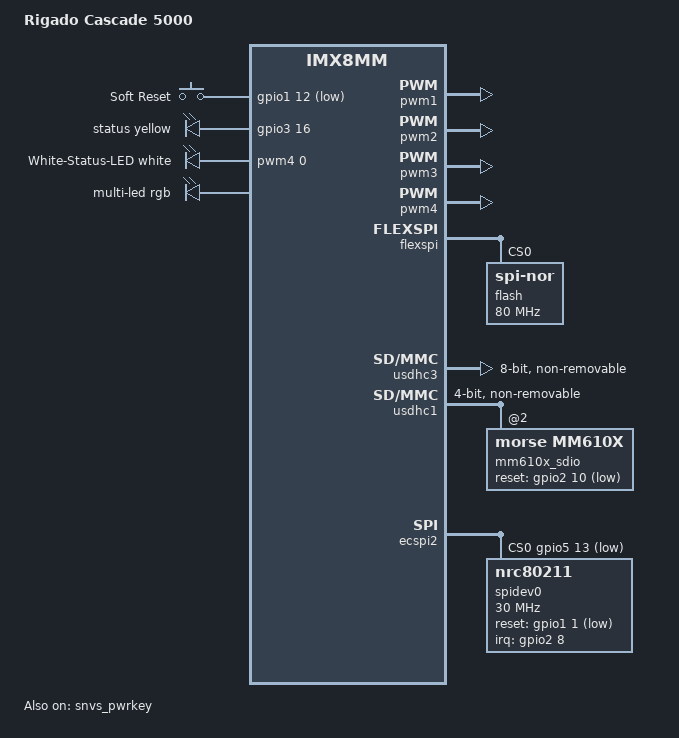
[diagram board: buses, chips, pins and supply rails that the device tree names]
// SPDX-License-Identifier: (GPL-2.0+ OR MIT)
/*
 * Copyright 2025 Rigado
 * Based on imx8mm-evk.dts, Copyright 2020 NXP
*/
/dts-v1/;

#include <dt-bindings/leds/common.h>
#include "imx8mm-rigado-c5k.dtsi"
/ {
	model = "Rigado Cascade 5000";
	compatible = "rig,cascade-5000", "fsl,imx8mm";

	aliases {
		spi0 = &flexspi;
	};

	gpio-keys {
		compatible = "gpio-keys";
		pinctrl-names = "default";
		pinctrl-0 = <&pinctrl_gpiobutton>;

		switch-1 {
			label = "Soft Reset";
			gpios = <&gpio1 12 GPIO_ACTIVE_LOW>;
			wakeup-source;
			linux,code = <KEY_PROG1>;
		};
	};

	gpio-leds {
		compatible = "gpio-leds";
		pinctrl-names = "default";
		pinctrl-0 = <&pinctrl_gpio_led>;

		/* Normally unpopulated status LED */
		status {
			label = "status";
			color = <LED_COLOR_ID_YELLOW>;
			function = LED_FUNCTION_HEARTBEAT;
			gpios = <&gpio3 16 GPIO_ACTIVE_HIGH>;
			linux,default-trigger = "heartbeat";
		};
	};

	pwm-leds {
		compatible = "pwm-leds";
		white-status {
			label = "White-Status-LED";
			color = <LED_COLOR_ID_WHITE>;
			pwms = <&pwm4 0 100000 0>;
			max-brightness = <248>;
			linux,default-trigger = "default-on";
		};
	};

	led-controller {
		compatible = "pwm-leds-multicolor";

		multi-led {
			color = <LED_COLOR_ID_RGB>;
			function = LED_FUNCTION_STATUS;
			max-brightness = <248>;

			led-red {
				color = <LED_COLOR_ID_RED>;
				pwms = <&pwm1 0 100000 0>;
			};

			led-green {
				color = <LED_COLOR_ID_GREEN>;
				pwms = <&pwm2 0 100000 0>;
			};

			led-blue {
				color = <LED_COLOR_ID_BLUE>;
				pwms = <&pwm3 0 100000 0>;
			};
		};
	};
};

&pwm1 {
	pinctrl-names = "default";
	pinctrl-0 = <&pinctrl_pwm1>;
	status = "okay";
};

&pwm2 {
	pinctrl-names = "default";
	pinctrl-0 = <&pinctrl_pwm2>;
	status = "okay";
};

&pwm3 {
	pinctrl-names = "default";
	pinctrl-0 = <&pinctrl_pwm3>;
	status = "okay";
};

&pwm4 {
	pinctrl-names = "default";
	pinctrl-0 = <&pinctrl_pwm4>;
	status = "okay";
};

&snvs_pwrkey {
	status = "okay";
};

// QSPI configuration flash
&flexspi {
	pinctrl-names = "default";
	pinctrl-0 = <&pinctrl_flexspi>;
	status = "okay";

	flash@0 {
		reg = <0>;
		#address-cells = <1>;
		#size-cells = <1>;
		compatible = "jedec,spi-nor";
		spi-max-frequency = <80000000>;
		spi-tx-bus-width = <1>;
		spi-rx-bus-width = <4>;
	};
};

// eMMC Primary Storage
&usdhc3 {
	assigned-clocks = <&clk IMX8MM_CLK_USDHC3_ROOT>;
	assigned-clock-rates = <400000000>;
	pinctrl-names = "default", "state_100mhz", "state_200mhz";
	pinctrl-0 = <&pinctrl_usdhc3>;
	pinctrl-1 = <&pinctrl_usdhc3_100mhz>;
	pinctrl-2 = <&pinctrl_usdhc3_200mhz>;
	bus-width = <8>;
	non-removable;
	status = "okay";
};

// Morse Micro WiFi Halow on m.2 SDIO
&usdhc1 {
	pinctrl-names = "default", "state_100mhz", "state_200mhz";
	pinctrl-0 = <&pinctrl_usdhc1>, <&pinctrl_wlan>;
	pinctrl-1 = <&pinctrl_usdhc1_100mhz>, <&pinctrl_wlan>;
	pinctrl-2 = <&pinctrl_usdhc1_200mhz>, <&pinctrl_wlan>;
	bus-width = <4>;
	keep-power-in-suspend;
	non-removable;
	wakeup-source;
	status = "okay";
	sdhci-caps-mask = <0x0 0x00080000>;	// Needed to avoid hardware interrupt timeout error
	slot-supply = <&exp3v3_supply>;

	mm610x_sdio  {
		compatible = "morse,mm610x";
		reset-gpios = <&gpio2 10 GPIO_ACTIVE_LOW>;
		// power-gpios = <&gpio2 9 0>;
		//               <&gpio2 15 0>;
		status = "okay";
		reg = <2>;
		bus-width = <4>;
	};

	wifi_wake_host {
		compatible = "nxp,wifi-wake-host";
		interrupt-parent = <&gpio3>;
		interrupts = <22 IRQ_TYPE_LEVEL_LOW>;
		interrupt-names = "host-wake";
		status = "disabled";
	};
};

// Newracom WiFi HaLow on m.2 SPI
&ecspi2 {
	#address-cells = <1>;
	#size-cells = <0>;
	fsl,spi-num-chipselects = <1>;
	pinctrl-names = "default";
	pinctrl-0 = <&pinctrl_ecspi2 &pinctrl_ecspi2_cs>;
	cs-gpios = <&gpio5 13 GPIO_ACTIVE_LOW>;
	status = "okay";
	slot-supply = <&exp3v3_supply>;

	spidev0: spi@0 {
		status="okay";
		compatible = "nrc80211";
		reg = <0>;
		interrupt-parent = <&gpio2>;			// Not currently used by driver
		interrupts = <8 IRQ_TYPE_LEVEL_LOW>;		// Not currently used by driver
		spi-max-frequency = <30000000>;
		reset-gpios = <&gpio1 1 GPIO_ACTIVE_LOW>;	// Not currently used by driver
		keep-power-in-suspend;
	};
};

&iomuxc {
	pinctrl_flexspi: flexspigrp {
		fsl,pins = <
			MX8MM_IOMUXC_NAND_ALE_QSPI_A_SCLK		0x1c2
			MX8MM_IOMUXC_NAND_CE0_B_QSPI_A_SS0_B		0x82
			MX8MM_IOMUXC_NAND_DATA00_QSPI_A_DATA0		0x82
			MX8MM_IOMUXC_NAND_DATA01_QSPI_A_DATA1		0x82
			MX8MM_IOMUXC_NAND_DATA02_QSPI_A_DATA2		0x82
			MX8MM_IOMUXC_NAND_DATA03_QSPI_A_DATA3		0x82
		>;
	};

	pinctrl_usdhc1: usdhc1grp {
		fsl,pins = <
			MX8MM_IOMUXC_SD1_CLK_USDHC1_CLK		0x190
			MX8MM_IOMUXC_SD1_CMD_USDHC1_CMD		0x1d0
			MX8MM_IOMUXC_SD1_DATA0_USDHC1_DATA0		0x1d0
			MX8MM_IOMUXC_SD1_DATA1_USDHC1_DATA1		0x1d0
			MX8MM_IOMUXC_SD1_DATA2_USDHC1_DATA2		0x1d0
			MX8MM_IOMUXC_SD1_DATA3_USDHC1_DATA3		0x1d0
		>;
	};

	pinctrl_usdhc1_100mhz: usdhc1grp100mhz {
		fsl,pins = <
			MX8MM_IOMUXC_SD1_CLK_USDHC1_CLK		0x194
			MX8MM_IOMUXC_SD1_CMD_USDHC1_CMD		0x1d4
			MX8MM_IOMUXC_SD1_DATA0_USDHC1_DATA0		0x1d4
			MX8MM_IOMUXC_SD1_DATA1_USDHC1_DATA1		0x1d4
			MX8MM_IOMUXC_SD1_DATA2_USDHC1_DATA2		0x1d4
			MX8MM_IOMUXC_SD1_DATA3_USDHC1_DATA3		0x1d4
		>;
	};

	pinctrl_usdhc1_200mhz: usdhc1grp200mhz {
		fsl,pins = <
			MX8MM_IOMUXC_SD1_CLK_USDHC1_CLK		0x196
			MX8MM_IOMUXC_SD1_CMD_USDHC1_CMD		0x1d6
			MX8MM_IOMUXC_SD1_DATA0_USDHC1_DATA0		0x1d6
			MX8MM_IOMUXC_SD1_DATA1_USDHC1_DATA1		0x1d6
			MX8MM_IOMUXC_SD1_DATA2_USDHC1_DATA2		0x1d6
			MX8MM_IOMUXC_SD1_DATA3_USDHC1_DATA3		0x1d6
		>;
	};

    pinctrl_wlan: wlangrp {
		fsl,pins = <
			MX8MM_IOMUXC_SAI5_RXD1_GPIO3_IO22		0x159
			MX8MM_IOMUXC_SD1_RESET_B_GPIO2_IO10		0x159
			MX8MM_IOMUXC_GPIO1_IO00_ANAMIX_REF_CLK_32K	0x141
		>;
	};

    pinctrl_ecspi2: ecspi2grp {
		fsl,pins = <
			MX8MM_IOMUXC_ECSPI2_SCLK_ECSPI2_SCLK		0x82
			MX8MM_IOMUXC_ECSPI2_MOSI_ECSPI2_MOSI		0x82
			MX8MM_IOMUXC_ECSPI2_MISO_ECSPI2_MISO		0x82
		>;
	};

	pinctrl_ecspi2_cs: ecspi2cs {
		fsl,pins = <
			MX8MM_IOMUXC_ECSPI2_SS0_GPIO5_IO13		0x40000
		>;
	};

    pinctrl_usdhc3: usdhc3grp {
		fsl,pins = <
			MX8MM_IOMUXC_NAND_WE_B_USDHC3_CLK		0x190
			MX8MM_IOMUXC_NAND_WP_B_USDHC3_CMD		0x1d0
			MX8MM_IOMUXC_NAND_DATA04_USDHC3_DATA0		0x1d0
			MX8MM_IOMUXC_NAND_DATA05_USDHC3_DATA1		0x1d0
			MX8MM_IOMUXC_NAND_DATA06_USDHC3_DATA2		0x1d0
			MX8MM_IOMUXC_NAND_DATA06_USDHC3_DATA2		0x1d0
			MX8MM_IOMUXC_NAND_DATA07_USDHC3_DATA3		0x1d0
			MX8MM_IOMUXC_NAND_RE_B_USDHC3_DATA4		0x1d0
			MX8MM_IOMUXC_NAND_CE2_B_USDHC3_DATA5		0x1d0
			MX8MM_IOMUXC_NAND_CE3_B_USDHC3_DATA6		0x1d0
			MX8MM_IOMUXC_NAND_CLE_USDHC3_DATA7		0x1d0
			MX8MM_IOMUXC_NAND_CE1_B_USDHC3_STROBE		0x190
		>;
	};

	pinctrl_usdhc3_100mhz: usdhc3-100mhzgrp {
		fsl,pins = <
			MX8MM_IOMUXC_NAND_WE_B_USDHC3_CLK		0x194
			MX8MM_IOMUXC_NAND_WP_B_USDHC3_CMD		0x1d4
			MX8MM_IOMUXC_NAND_DATA04_USDHC3_DATA0		0x1d4
			MX8MM_IOMUXC_NAND_DATA05_USDHC3_DATA1		0x1d4
			MX8MM_IOMUXC_NAND_DATA06_USDHC3_DATA2		0x1d4
			MX8MM_IOMUXC_NAND_DATA07_USDHC3_DATA3		0x1d4
			MX8MM_IOMUXC_NAND_RE_B_USDHC3_DATA4		0x1d4
			MX8MM_IOMUXC_NAND_CE2_B_USDHC3_DATA5		0x1d4
			MX8MM_IOMUXC_NAND_CE3_B_USDHC3_DATA6		0x1d4
			MX8MM_IOMUXC_NAND_CLE_USDHC3_DATA7		0x1d4
			MX8MM_IOMUXC_NAND_CE1_B_USDHC3_STROBE		0x194
		>;
	};

	pinctrl_usdhc3_200mhz: usdhc3-200mhzgrp {
		fsl,pins = <
			MX8MM_IOMUXC_NAND_WE_B_USDHC3_CLK		0x196
			MX8MM_IOMUXC_NAND_WP_B_USDHC3_CMD		0x1d6
			MX8MM_IOMUXC_NAND_DATA04_USDHC3_DATA0		0x1d6
			MX8MM_IOMUXC_NAND_DATA05_USDHC3_DATA1		0x1d6
			MX8MM_IOMUXC_NAND_DATA06_USDHC3_DATA2		0x1d6
			MX8MM_IOMUXC_NAND_DATA07_USDHC3_DATA3		0x1d6
			MX8MM_IOMUXC_NAND_RE_B_USDHC3_DATA4		0x1d6
			MX8MM_IOMUXC_NAND_CE2_B_USDHC3_DATA5		0x1d6
			MX8MM_IOMUXC_NAND_CE3_B_USDHC3_DATA6		0x1d6
			MX8MM_IOMUXC_NAND_CLE_USDHC3_DATA7		0x1d6
			MX8MM_IOMUXC_NAND_CE1_B_USDHC3_STROBE		0x196
		>;
	};

	pinctrl_pwm1: ledpwmr {
		fsl,pins = <
			MX8MM_IOMUXC_SPDIF_EXT_CLK_PWM1_OUT		0x19
		>;
	};
	pinctrl_pwm2: ledpwmg {
		fsl,pins = <
			MX8MM_IOMUXC_SPDIF_RX_PWM2_OUT			0x19
		>;
	};
	pinctrl_pwm3: ledpwmb {
		fsl,pins = <
			MX8MM_IOMUXC_SPDIF_TX_PWM3_OUT			0x19
		>;
	};
	pinctrl_pwm4: ledpwmW {
		fsl,pins = <
			MX8MM_IOMUXC_SAI3_MCLK_PWM4_OUT		0x19
		>;
	};
	pinctrl_gpio_led: gpioledgrp {
		fsl,pins = <
			MX8MM_IOMUXC_NAND_READY_B_GPIO3_IO16		0x19
		>;
	};

	pinctrl_gpiobutton: gpiobuttongrp {
		fsl,pins = <
			MX8MM_IOMUXC_GPIO1_IO12_GPIO1_IO12		0x10
		>;
	};
};
